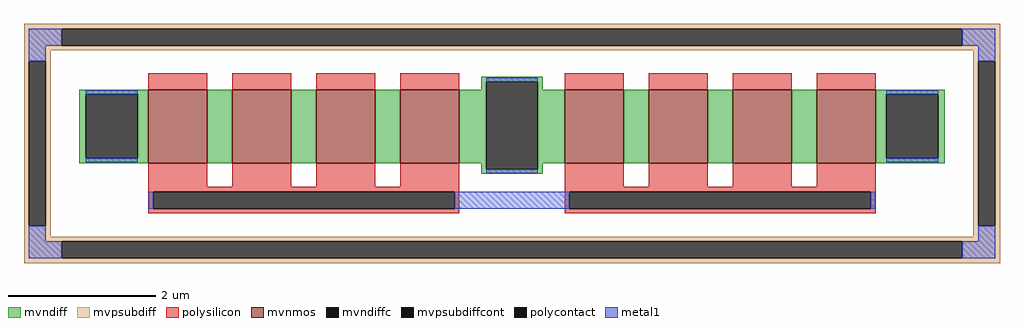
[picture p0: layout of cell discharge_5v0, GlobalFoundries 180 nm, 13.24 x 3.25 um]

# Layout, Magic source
magic
tech gf180mcuD
magscale 1 10
<< mvnmos >>
rect 465 271 625 471
rect 693 271 853 471
rect 921 271 1081 471
rect 1149 271 1309 471
rect 1595 271 1755 471
rect 1823 271 1983 471
rect 2051 271 2211 471
rect 2279 271 2439 471
<< mvndiff >>
rect 1369 492 1535 505
rect 1369 471 1382 492
rect 278 458 465 471
rect 278 284 296 458
rect 436 284 465 458
rect 278 271 465 284
rect 625 271 693 471
rect 853 271 921 471
rect 1081 271 1149 471
rect 1309 271 1382 471
rect 1369 255 1382 271
rect 1522 471 1535 492
rect 1522 271 1595 471
rect 1755 271 1823 471
rect 1983 271 2051 471
rect 2211 271 2279 471
rect 2439 458 2626 471
rect 2439 284 2468 458
rect 2608 284 2626 458
rect 2439 271 2626 284
rect 1522 255 1535 271
rect 1369 242 1535 255
<< mvndiffc >>
rect 296 284 436 458
rect 1382 255 1522 492
rect 2468 284 2608 458
<< mvpsubdiff >>
rect 128 636 2776 649
rect 128 590 230 636
rect 2674 590 2776 636
rect 128 577 2776 590
rect 128 547 200 577
rect 128 102 141 547
rect 187 102 200 547
rect 2704 547 2776 577
rect 128 72 200 102
rect 2704 102 2717 547
rect 2763 102 2776 547
rect 2704 72 2776 102
rect 128 59 2776 72
rect 128 13 230 59
rect 2674 13 2776 59
rect 128 0 2776 13
<< mvpsubdiffcont >>
rect 230 590 2674 636
rect 141 102 187 547
rect 2717 102 2763 547
rect 230 13 2674 59
<< polysilicon >>
rect 465 471 625 515
rect 693 471 853 515
rect 921 471 1081 515
rect 1149 471 1309 515
rect 465 207 625 271
rect 693 207 853 271
rect 921 207 1081 271
rect 1149 207 1309 271
rect 1595 471 1755 515
rect 1823 471 1983 515
rect 2051 471 2211 515
rect 2279 471 2439 515
rect 465 194 1309 207
rect 465 148 478 194
rect 1296 148 1309 194
rect 465 135 1309 148
rect 1595 207 1755 271
rect 1823 207 1983 271
rect 2051 207 2211 271
rect 2279 207 2439 271
rect 1595 194 2439 207
rect 1595 148 1608 194
rect 2426 148 2439 194
rect 1595 135 2439 148
<< polycontact >>
rect 478 148 1296 194
rect 1608 148 2426 194
<< metal1 >>
rect 141 590 230 636
rect 2674 590 2763 636
rect 141 547 187 590
rect 2717 547 2763 590
rect 1382 492 1522 503
rect 296 458 436 469
rect 296 273 436 284
rect 2468 458 2608 469
rect 2468 273 2608 284
rect 1382 244 1522 255
rect 467 148 478 194
rect 1296 148 1608 194
rect 2426 148 2437 194
rect 141 59 187 102
rect 2717 59 2763 102
rect 141 13 230 59
rect 2674 13 2763 59
<< properties >>
string FIXED_BBOX 0 0 2904 649
<< end >>
